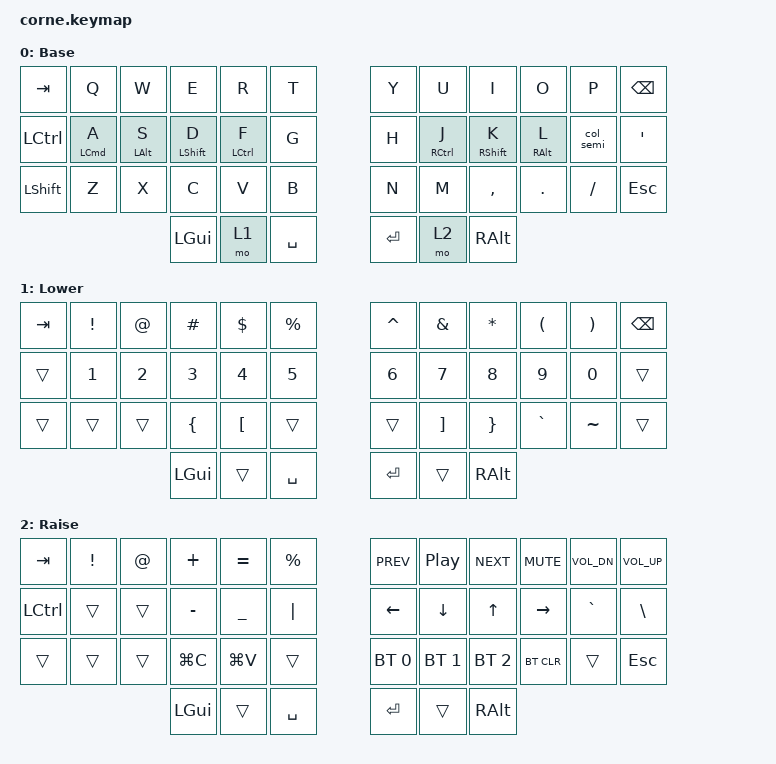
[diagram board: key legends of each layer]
/*
 * Copyright (c) 2020 The ZMK Contributors
 *
 * SPDX-License-Identifier: MIT
 */

#include <behaviors.dtsi>
#include <dt-bindings/zmk/bt.h>
#include <dt-bindings/zmk/keys.h>

/ {
    behaviors {
        col_semi: col_semi {
            compatible = "zmk,behavior-mod-morph";
            label = "COL_SEMI";
            bindings = <&kp COLON>, <&kp SEMI>;

            #binding-cells = <0>;
            mods = <(MOD_LSFT|MOD_RSFT)>;
        };

        home_row_mod_left: home_row_mod_left {
            compatible = "zmk,behavior-hold-tap";
            label = "HOME_ROW_MOD_LEFT";
            bindings = <&kp>, <&kp>;

            #binding-cells = <2>;
            flavor = "balanced";
            tapping-term-ms = <300>;
            quick-tap-ms = <175>;
            hold-trigger-key-positions = <6 18 30 31 19 7 8 9 10 11 20 21 22 23 32 33 34 35>;
            hold-while-undecided;
        };

        home_row_mod_right: home_row_mod_right {
            compatible = "zmk,behavior-hold-tap";
            label = "HOME_ROW_MOD_RIGHT";
            bindings = <&kp>, <&kp>;

            #binding-cells = <2>;
            hold-while-undecided;
            flavor = "balanced";
            hold-trigger-key-positions = <0 1 2 3 4 5 12 13 14 15 16 17 24 25 26 27 28 29>;
            tapping-term-ms = <300>;
            quick-tap-ms = <175>;
        };
    };

    keymap {
        compatible = "zmk,keymap";

        default_layer {
            // -----------------------------------------------------------------------------------------
            // |  TAB |  Q  |  W  |  E  |  R  |  T  |   |  Y  |  U   |  I  |  O  |  P  | BKSP |
            // | CTRL |  A  |  S  |  D  |  F  |  G  |   |  H  |  J   |  K  |  L  |  ;  |  '   |
            // | SHFT |  Z  |  X  |  C  |  V  |  B  |   |  N  |  M   |  ,  |  .  |  /  | ESC  |
            //                    | GUI | LWR | SPC |   | ENT | RSE  | ALT |

            display-name = "Base";
            bindings = <
&kp TAB    &kp Q                              &kp W                          &kp E                            &kp R                       &kp T        &kp Y    &kp U                        &kp I                         &kp O                            &kp P      &kp BSPC
&kp LCTRL  &home_row_mod_left LEFT_COMMAND A  &home_row_mod_left LEFT_ALT S  &home_row_mod_left LEFT_SHIFT D  &home_row_mod_left LCTRL F  &kp G        &kp H    &home_row_mod_right RCTRL J  &home_row_mod_right RSHIFT K  &home_row_mod_right RIGHT_ALT L  &col_semi  &kp SQT
&kp LSHFT  &kp Z                              &kp X                          &kp C                            &kp V                       &kp B        &kp N    &kp M                        &kp COMMA                     &kp DOT                          &kp FSLH   &kp ESC
                                                                             &kp LGUI                         &mo 1                       &kp SPACE    &kp RET  &mo 2                        &kp RALT
            >;
        };

        lower_layer {
            // -----------------------------------------------------------------------------------------
            // |  TAB |  1  |  2  |  3  |  4  |  5  |   |  6  |  7  |  8  |  9  |  0  | BKSP |
            // | BTCLR| BT1 | BT2 | BT3 | BT4 | BT5 |   | LFT | DWN |  UP | RGT |     |      |
            // | SHFT |     |     |     |     |     |   |     |     |     |     |     |      |
            //                    | GUI |     | SPC |   | ENT |     | ALT |

            display-name = "Lower";
            bindings = <
&kp TAB  &kp EXCL      &kp AT        &kp HASH        &kp DOLLAR        &kp PERCENT    &kp CARET     &kp AMPERSAND      &kp STAR         &kp LEFT_PARENTHESIS  &kp RIGHT_PARENTHESIS  &kp BSPC
&trans   &kp NUMBER_1  &kp NUMBER_2  &kp NUMBER_3    &kp NUMBER_4      &kp N5         &kp NUMBER_6  &kp NUMBER_7       &kp N8           &kp N9                &kp N0                 &trans
&trans   &trans        &trans        &kp LEFT_BRACE  &kp LEFT_BRACKET  &trans         &trans        &kp RIGHT_BRACKET  &kp RIGHT_BRACE  &kp GRAVE             &kp TILDE              &trans
                                     &kp LGUI        &trans            &kp SPACE      &kp RET       &trans             &kp RALT
            >;
        };

        raise_layer {
            // -----------------------------------------------------------------------------------------
            // |  TAB |  !  |  @  |  #  |  $  |  %  |   |  ^  |  &  |  *  |  (  |  )  | BKSP |
            // | CTRL |     |     |     |     |     |   |  -  |  =  |  [  |  ]  |  \  |  `   |
            // | SHFT |     |     |     |     |     |   |  _  |  +  |  {  |  }  | "|" |  ~   |
            //                    | GUI |     | SPC |   | ENT |     | ALT |

            display-name = "Raise";
            bindings = <
&kp TAB    &kp EXCL  &kp AT  &kp PLUS   &kp EQUAL  &kp PRCNT    &kp C_PREV      &kp C_PLAY_PAUSE  &kp C_NEXT    &kp C_MUTE  &kp C_VOL_DN  &kp C_VOL_UP
&kp LCTRL  &trans    &trans  &kp MINUS  &kp UNDER  &kp PIPE     &kp LEFT_ARROW  &kp DOWN_ARROW    &kp UP_ARROW  &kp RIGHT   &kp GRAVE     &kp BACKSLASH
&trans     &trans    &trans  &kp LG(C)  &kp LG(V)  &trans       &bt BT_SEL 0    &bt BT_SEL 1      &bt BT_SEL 2  &bt BT_CLR  &trans        &kp ESCAPE
                             &kp LGUI   &trans     &kp SPACE    &kp RET         &trans            &kp RALT
            >;
        };
    };
};
